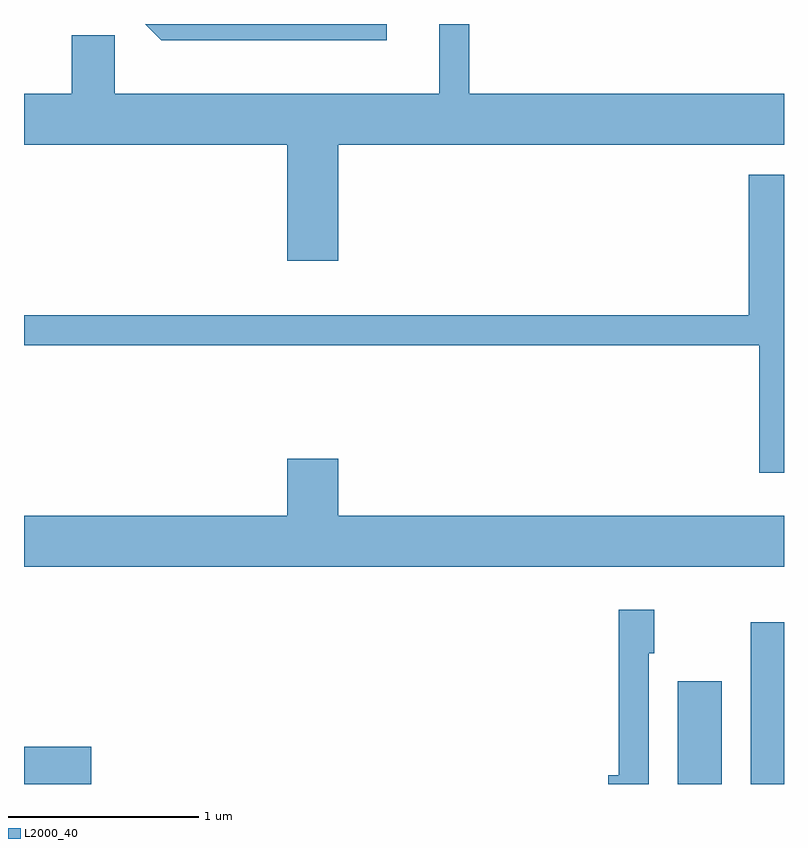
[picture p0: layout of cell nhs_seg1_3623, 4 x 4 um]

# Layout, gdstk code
import gdstk
lib = gdstk.Library(unit=1e-6, precision=1e-09)
def R(c, l, rs):  # rectangles x0, y0, x1, y1
    for r in rs: c.add(gdstk.rectangle(r[:2], r[2:], *l))
def P(c, l, *ps):  # polygons
    for p in ps: c.add(gdstk.Polygon(p, *l))
L2000_40 = (2000, 40)

nhs_seg1_3623 = lib.new_cell('nhs_seg1_3623')
R(nhs_seg1_3623, L2000_40, [(293.611,951.712,293.964,951.909), (297.051,951.712,297.284,952.254), (297.436,951.712,297.611,952.564)])
P(nhs_seg1_3623, L2000_40, [(295.264,955.076),(297.611,955.076),(297.611,955.344),(295.954,955.344),(295.954,955.712),(295.796,955.712),(295.796,955.344),(294.089,955.344),(294.089,955.654),(293.861,955.654),(293.861,955.344),(293.611,955.344),(293.611,955.076),(294.996,955.076),(294.996,954.466),(295.264,954.466)],
  [(295.519,955.712),(294.248,955.712),(294.334,955.626),(295.519,955.626)],
  [(297.611,954.919),(297.426,954.919),(297.426,954.179),(293.611,954.179),(293.611,954.021),(297.481,954.021),(297.481,953.351),(297.611,953.351)],
  [(297.611,953.124),(295.264,953.124),(295.264,953.424),(294.996,953.424),(294.996,953.124),(293.611,953.124),(293.611,952.856),(297.611,952.856)],
  [(296.899,952.401),(296.929,952.401),(296.929,952.629),(296.741,952.629),(296.741,951.759),(296.686,951.759),(296.686,951.712),(296.899,951.712)])

lib.write_gds('nhs_seg1_3623.gds')
